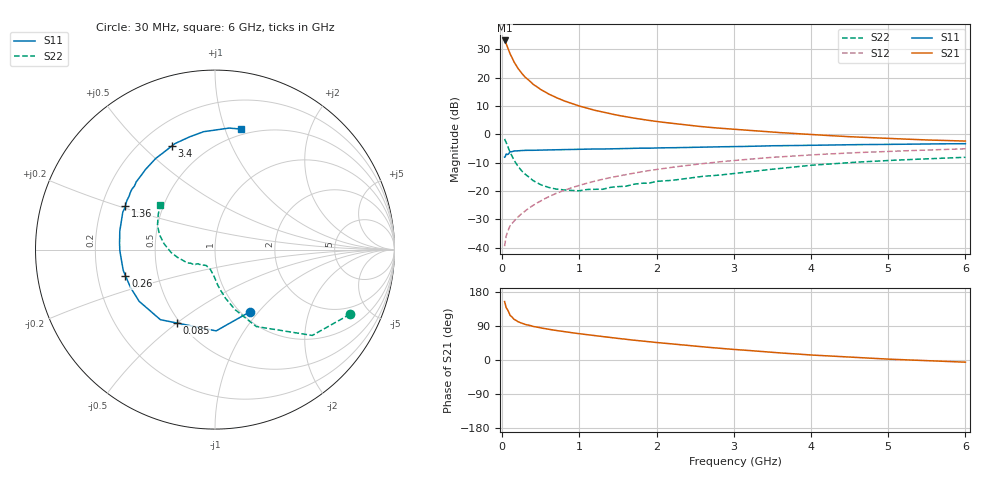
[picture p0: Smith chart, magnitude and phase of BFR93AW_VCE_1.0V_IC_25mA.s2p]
! Infineon Technologies  Discrete & RF Semiconductors
! BFR93AW
! VCE =  1.0 V,  IC =  25 mA
! Common Emitter S-Parameters:  Nov 2015
# GHz  S  MA  R  50
!  f  S11  S21  S12  S22
! GHz  MAG  ANG  MAG  ANG  MAG  ANG  MAG  ANG
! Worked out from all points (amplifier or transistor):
!   206 points, 30 MHz to 6 GHz, reference 50 ohm
!   highest |S21| = 33.1 dB at 30 MHz (marker M1)
!   |S21| within 3 dB of that: start of sweep to 77.03 MHz
!   unconditionally stable (mu >= 1): 412.8 MHz to 2.702 GHz
!   at 200 MHz: K = 0.80, MSG = 26.3 dB, |S12| = -29.2 dB
!   at 1.56 GHz: K = 1.06, MAG = 8.9 dB, |S12| = -14.4 dB
!   at 6 GHz: K = 0.98, MSG = 1.4 dB, |S12| = -5.1 dB
!   S11 on the Smith chart (normalised r, x): 30 MHz: 1.10, -0.90; 85 MHz: 0.48, -0.50; 260 MHz: 0.32, -0.13; 1.36 GHz: 0.30, +0.21; 3.4 GHz: 0.33, +0.62; 6 GHz: 0.45, +1.13
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0.03  0.3975 -60.3  45.44 154.2  0.0107 68.9  0.8341 -25.6
0.05  0.4529 -89.2  39.81 138.2  0.0161 62.8  0.7231 -41.4
0.085  0.4604 -117.3  30.11 125.7  0.0219 58.6  0.5489 -53.9
0.1  0.495 -127.9  26.62 117.8  0.0244 57.5  0.4862 -61.8
0.15  0.5114 -145.7  19.12 107.7  0.0293 56.7  0.3525 -71.5
0.2  0.5155 -155.5  14.84 101.4  0.0348 58.8  0.2775 -77.8
0.24  0.5177 -161.3  12.58 98.1  0.0389 61.5  0.2372 -81.3
0.26  0.5199 -163.6  11.64 96.5  0.0409 62.3  0.2212 -83.0
0.3  0.5242 -167.3  10.12 93.7  0.0451 62.9  0.1969 -85.7
0.4  0.5257 -174.6  7.658 88.6  0.0562 66.6  0.1531 -91.1
0.5  0.5305 -179.8  6.176 84.5  0.0675 67.8  0.1295 -97.2
0.6  0.5329 176.1  5.169 81.1  0.0795 68.6  0.1164 -101.7
0.7  0.5359 172.3  4.463 77.8  0.0916 68.9  0.1086 -106.4
0.8  0.5405 168.9  3.913 74.8  0.1031 68.8  0.1051 -113.2
1.04  0.5467 161.8  3.056 68.3  0.1314 68.0  0.1036 -122.1
1.36  0.5559 153.8  2.382 60.3  0.1686 65.7  0.1129 -133.0
2.02  0.5791 138.9  1.677 45.7  0.2432 59.6  0.1494 -147.4
3.1  0.6128 117.7  1.201 26.5  0.3561 47.7  0.2116 -167.9
3.4  0.6258 112.4  1.123 21.7  0.385 44.3  0.2353 -174.0
4.1  0.6465 101.2  0.978 12.1  0.4429 36.1  0.2921 171.6
5.1  0.6696 88.1  0.841 1.5  0.5079 25.2  0.352 155.2
6  0.6866 78.0  0.764 -5.7  0.5583 16.4  0.3954 140.6
